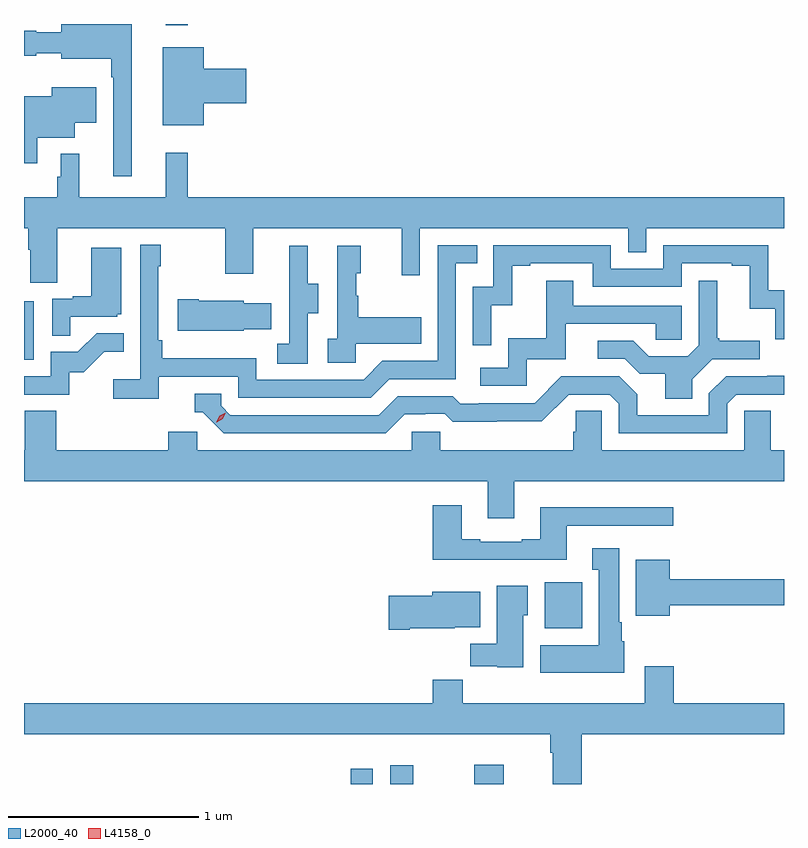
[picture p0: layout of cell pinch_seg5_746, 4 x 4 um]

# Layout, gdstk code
import gdstk
lib = gdstk.Library(unit=1e-6, precision=1e-09)
def R(c, l, rs):  # rectangles x0, y0, x1, y1
    for r in rs: c.add(gdstk.rectangle(r[:2], r[2:], *l))
def P(c, l, *ps):  # polygons
    for p in ps: c.add(gdstk.Polygon(p, *l))
L2000_40 = (2000, 40)
L4158_0 = (4158, 0)

pinch_seg5_746 = lib.new_cell('pinch_seg5_746')
R(pinch_seg5_746, L2000_40, [(877.33,893.795,877.446,893.875), (877.538,893.795,877.66,893.893), (877.982,893.795,878.137,893.896), (878.351,894.614,878.548,894.856), (875.611,896.028,875.662,896.335), (876.356,897.789,876.473,897.795)])
P(pinch_seg5_746, L2000_40, [(876.178,897.795),(875.807,897.795),(875.807,897.751),(875.676,897.751),(875.676,897.759),(875.611,897.759),(875.611,897.629),(875.676,897.629),(875.676,897.641),(875.807,897.641),(875.807,897.611),(876.069,897.611),(876.069,897.515),(876.081,897.515),(876.081,896.994),(876.178,896.994)],
  [(876.556,897.377),(876.781,897.377),(876.781,897.56),(876.556,897.56),(876.556,897.673),(876.341,897.673),(876.341,897.263),(876.556,897.263)],
  [(875.68,897.197),(875.878,897.197),(875.878,897.275),(875.992,897.275),(875.992,897.463),(875.756,897.463),(875.756,897.415),(875.611,897.415),(875.611,897.063),(875.68,897.063)],
  [(875.785,896.72),(876.67,896.72),(876.67,896.481),(876.817,896.481),(876.817,896.72),(877.598,896.72),(877.598,896.472),(877.695,896.472),(877.695,896.72),(878.79,896.72),(878.79,896.593),(878.886,896.593),(878.886,896.72),(879.611,896.72),(879.611,896.884),(876.473,896.884),(876.473,897.118),(876.356,897.118),(876.356,896.884),(875.903,896.884),(875.903,897.112),(875.805,897.112),(875.805,896.991),(875.785,896.991),(875.785,896.884),(875.611,896.884),(875.611,896.72),(875.633,896.72),(875.633,896.608),(875.645,896.608),(875.645,896.434),(875.785,896.434)],
  [(876.32,895.938),(876.738,895.938),(876.738,895.827),(877.435,895.827),(877.534,895.926),(877.884,895.926),(877.884,896.535),(877.997,896.535),(877.997,896.631),(877.788,896.631),(877.788,896.022),(877.497,896.022),(877.398,895.923),(876.834,895.923),(876.834,896.035),(876.338,896.035),(876.338,896.131),(876.318,896.131),(876.318,896.519),(876.331,896.519),(876.331,896.632),(876.222,896.632),(876.222,895.924),(876.081,895.924),(876.081,895.822),(876.32,895.822)],
  [(878.07,896.315),(878.18,896.315),(878.18,896.523),(878.275,896.523),(878.275,896.535),(878.604,896.535),(878.604,896.412),(879.072,896.412),(879.072,896.535),(879.335,896.535),(879.335,896.523),(879.431,896.523),(879.431,896.297),(879.564,896.297),(879.564,896.136),(879.611,896.136),(879.611,896.395),(879.528,896.395),(879.528,896.631),(878.976,896.631),(878.976,896.508),(878.7,896.508),(878.7,896.631),(878.082,896.631),(878.082,896.412),(877.974,896.412),(877.974,896.103),(878.07,896.103)],
  [(877.104,896.272),(877.159,896.272),(877.159,896.427),(877.105,896.427),(877.105,896.629),(877.007,896.629),(877.007,896.415),(877.008,896.415),(877.008,896.111),(876.945,896.111),(876.945,896.008),(877.104,896.008)],
  [(877.356,896.111),(877.703,896.111),(877.703,896.251),(877.369,896.251),(877.369,896.366),(877.359,896.366),(877.359,896.484),(877.384,896.484),(877.384,896.629),(877.26,896.629),(877.26,896.138),(877.209,896.138),(877.209,896.013),(877.356,896.013)],
  [(875.855,896.253),(876.102,896.253),(876.102,896.268),(876.124,896.268),(876.124,896.617),(875.966,896.617),(875.966,896.362),(875.867,896.362),(875.867,896.349),(875.76,896.349),(875.76,896.155),(875.855,896.155)],
  [(879.127,895.924),(879.234,896.031),(879.484,896.031),(879.484,896.128),(879.271,896.128),(879.271,896.14),(879.259,896.14),(879.259,896.443),(879.162,896.443),(879.162,896.103),(879.105,896.046),(878.899,896.046),(878.818,896.127),(878.631,896.127),(878.631,896.034),(878.772,896.034),(878.852,895.954),(878.987,895.954),(878.987,895.822),(879.127,895.822)],
  [(878.256,896.031),(878.461,896.031),(878.461,896.217),(878.935,896.217),(878.935,896.133),(879.072,896.133),(879.072,896.313),(878.503,896.313),(878.503,896.443),(878.359,896.443),(878.359,896.14),(878.16,896.14),(878.16,895.986),(878.013,895.986),(878.013,895.89),(878.256,895.89)],
  [(876.768,896.189),(876.911,896.189),(876.911,896.326),(876.768,896.326),(876.768,896.338),(876.532,896.338),(876.532,896.346),(876.42,896.346),(876.42,896.18),(876.768,896.18)],
  [(875.85,895.962),(875.926,895.962),(876.033,896.069),(876.137,896.069),(876.137,896.168),(875.993,896.168),(875.895,896.07),(875.751,896.07),(875.751,895.941),(875.611,895.941),(875.611,895.845),(875.85,895.845)],
  [(877.615,895.74),(877.722,895.74),(877.722,895.743),(877.825,895.743),(877.867,895.701),(878.1,895.701),(878.1,895.703),(878.336,895.703),(878.478,895.845),(878.694,895.845),(878.742,895.797),(878.742,895.641),(879.312,895.641),(879.312,895.797),(879.36,895.845),(879.611,895.845),(879.611,895.943),(879.522,895.943),(879.522,895.941),(879.306,895.941),(879.216,895.851),(879.216,895.737),(878.839,895.737),(878.839,895.847),(878.745,895.941),(878.439,895.941),(878.298,895.8),(878.005,895.8),(878.005,895.797),(877.906,895.797),(877.867,895.836),(877.578,895.836),(877.479,895.737),(876.696,895.737),(876.648,895.785),(876.648,895.848),(876.509,895.848),(876.509,895.752),(876.552,895.752),(876.663,895.641),(877.516,895.641)],
  [(878.191,895.388),(879.611,895.388),(879.611,895.552),(879.541,895.552),(879.541,895.76),(879.402,895.76),(879.402,895.552),(878.652,895.552),(878.652,895.76),(878.515,895.76),(878.515,895.65),(878.501,895.65),(878.501,895.552),(877.803,895.552),(877.803,895.65),(877.653,895.65),(877.653,895.552),(876.522,895.552),(876.522,895.65),(876.371,895.65),(876.371,895.552),(875.78,895.552),(875.78,895.76),(875.615,895.76),(875.615,895.552),(875.611,895.552),(875.611,895.388),(878.051,895.388),(878.051,895.194),(878.191,895.194)],
  [(878.467,895.155),(879.028,895.155),(879.028,895.252),(878.327,895.252),(878.327,895.084),(878.231,895.084),(878.231,895.071),(878.011,895.071),(878.011,895.084),(877.915,895.084),(877.915,895.261),(877.763,895.261),(877.763,894.974),(878.467,894.974)],
  [(878.77,894.546),(878.758,894.546),(878.758,894.646),(878.743,894.646),(878.743,895.036),(878.603,895.036),(878.603,894.923),(878.636,894.923),(878.636,894.526),(878.327,894.526),(878.327,894.38),(878.77,894.38)],
  [(879.01,894.736),(879.611,894.736),(879.611,894.872),(879.01,894.872),(879.01,894.976),(878.831,894.976),(878.831,894.68),(879.01,894.68)],
  [(878.239,894.684),(878.263,894.684),(878.263,894.838),(878.099,894.838),(878.099,894.532),(877.96,894.532),(877.96,894.414),(878.103,894.414),(878.103,894.41),(878.239,894.41)],
  [(877.642,894.614),(877.878,894.614),(877.878,894.62),(878.011,894.62),(878.011,894.808),(877.76,894.808),(877.76,894.785),(877.53,894.785),(877.53,894.607),(877.642,894.607)],
  [(878.546,894.056),(879.611,894.056),(879.611,894.22),(879.032,894.22),(879.032,894.415),(878.879,894.415),(878.879,894.22),(877.919,894.22),(877.919,894.344),(877.763,894.344),(877.763,894.22),(875.611,894.22),(875.611,894.056),(878.381,894.056),(878.381,893.96),(878.393,893.96),(878.393,893.795),(878.546,893.795)])
P(pinch_seg5_746, L4158_0, [(876.624,895.699),(876.624,895.7),(876.641,895.732),(876.672,895.75),(876.673,895.75),(876.673,895.75),(876.656,895.718),(876.625,895.699)])

lib.write_gds('pinch_seg5_746.gds')
